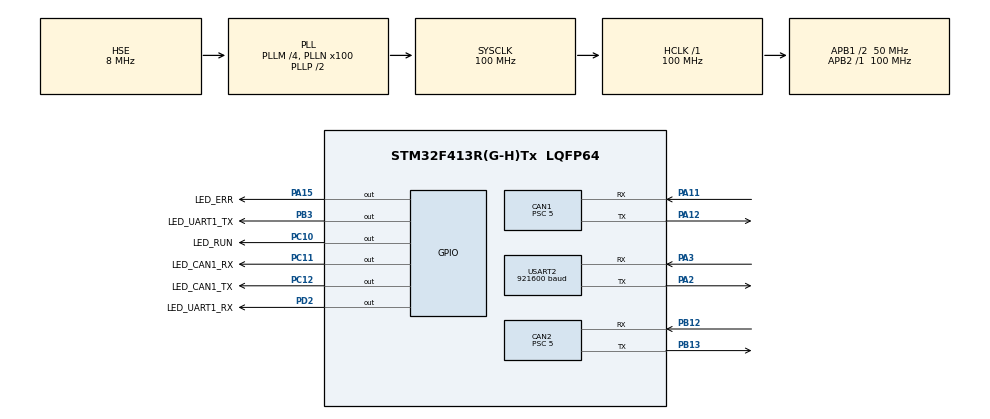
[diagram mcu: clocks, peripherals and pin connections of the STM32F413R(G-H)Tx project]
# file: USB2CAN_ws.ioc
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CAN1.ABOM=ENABLE
CAN1.BS1=CAN_BS1_4TQ
CAN1.BS2=CAN_BS2_5TQ
CAN1.CalculateBaudRate=1000000
CAN1.CalculateTimeBit=1000
CAN1.CalculateTimeQuantum=100.0
CAN1.Prescaler=5
CAN1.TXFP=ENABLE
CAN2.ABOM=ENABLE
CAN2.BS1=CAN_BS1_4TQ
CAN2.BS2=CAN_BS2_5TQ
CAN2.CalculateBaudRate=1000000
CAN2.CalculateTimeBit=1000
CAN2.CalculateTimeQuantum=100.0
CAN2.Prescaler=5
CAN2.TXFP=ENABLE
Mcu.Family=STM32F4
Mcu.Name=STM32F413R(G-H)Tx
Mcu.Package=LQFP64
NVIC.CAN1_RX0_IRQn=true\:0\:0\:false\:false\:true\:true\:true\:true
NVIC.CAN1_TX_IRQn=true\:0\:0\:false\:false\:true\:true\:true\:true
NVIC.CAN2_RX0_IRQn=true\:0\:0\:false\:false\:true\:true\:true\:true
NVIC.CAN2_TX_IRQn=true\:0\:0\:false\:false\:true\:true\:true\:true
NVIC.PriorityGroup=NVIC_PRIORITYGROUP_4
NVIC.USART2_IRQn=true\:0\:0\:false\:false\:true\:true\:true\:true
PA11.Mode=CAN_Activate
PA11.Signal=CAN1_RX
PA12.Mode=CAN_Activate
PA12.Signal=CAN1_TX
PA15.GPIO_Label=LED_ERR
PA15.PinState=GPIO_PIN_SET
PA15.Signal=GPIO_Output
PA2.Mode=Asynchronous
PA2.Signal=USART2_TX
PA3.Mode=Asynchronous
PA3.Signal=USART2_RX
PB12.Mode=CAN_Activate
PB12.Signal=CAN2_RX
PB13.Mode=CAN_Activate
PB13.Signal=CAN2_TX
PB3.GPIO_Label=LED_UART1_TX
PB3.Signal=GPIO_Output
PC10.GPIO_Label=LED_RUN
PC10.PinState=GPIO_PIN_SET
PC10.Signal=GPIO_Output
PC11.GPIO_Label=LED_CAN1_RX
PC11.Signal=GPIO_Output
PC12.GPIO_Label=LED_CAN1_TX
PC12.Signal=GPIO_Output
PD2.GPIO_Label=LED_UART1_RX
PD2.Signal=GPIO_Output
PH0\ -\ OSC_IN.Mode=HSE-External-Oscillator
PH0\ -\ OSC_IN.Signal=RCC_OSC_IN
PH1\ -\ OSC_OUT.Mode=HSE-External-Oscillator
PH1\ -\ OSC_OUT.Signal=RCC_OSC_OUT
ProjectManager.HeapSize=0x400
ProjectManager.StackSize=0x800
ProjectManager.TargetToolchain=STM32CubeIDE
RCC.AHBFreq_Value=100000000
RCC.APB1CLKDivider=RCC_HCLK_DIV2
RCC.APB1Freq_Value=50000000
RCC.APB1TimFreq_Value=100000000
RCC.APB2Freq_Value=100000000
RCC.APB2TimFreq_Value=100000000
RCC.CortexFreq_Value=100000000
RCC.HCLKFreq_Value=100000000
RCC.HSE_VALUE=8000000
RCC.PLLM=4
RCC.PLLN=100
RCC.PLLSourceVirtual=RCC_PLLSOURCE_HSE
RCC.SYSCLKFreq_VALUE=100000000
RCC.SYSCLKSource=RCC_SYSCLKSOURCE_PLLCLK
RCC.USBFreq_Value=100000000
RCC.VCOOutputFreq_Value=200000000
USART2.BaudRate=921600
USART2.VirtualMode=VM_ASYNC
board=custom

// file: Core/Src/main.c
/* USER CODE BEGIN Header */
/**
  ******************************************************************************
  * @file           : main.c
  * @brief          : Main program body
  ******************************************************************************
  * @attention
  *
  * Copyright (c) 2022 STMicroelectronics.
  * All rights reserved.
  *
  * This software is licensed under terms that can be found in the LICENSE file
  * in the root directory of this software component.
  * If no LICENSE file comes with this software, it is provided AS-IS.
  *
  ******************************************************************************
  */
/* USER CODE END Header */
#include "main.h"

/* USER CODE BEGIN Includes */
/* Component Includes*/
#include "cp_delay.h"
#include "cp_can_driver.h"
#include "cp_can_datalink.h"
#include "cp_can_network.h"
#include "cp_crc_ccitt.h"

#include "cp_uart_driver.h"
#include "cp_uart_datalink.h"

/* USER CODE END Includes */

CAN_HandleTypeDef hcan1;
CAN_HandleTypeDef hcan2;

UART_HandleTypeDef huart2;

void SystemClock_Config(void);
static void MX_GPIO_Init(void);
static void MX_CAN1_Init(void);
static void MX_CAN2_Init(void);
static void MX_USART2_UART_Init(void);
/* USER CODE BEGIN PFP */
static void CM_CAN1_Driver_Init(void);
static void CM_UART2_Driver_Init(void);
/* USER CODE END PFP */

/* USER CODE BEGIN 0 */
extern CP_CAN_ManagerHandleTypeDef cpCanManager;//test
uint8_t data[64] = {0,};
/* USER CODE END 0 */

int main(void)
{
  /* USER CODE BEGIN 1 */
	uint32_t t_run;

  /* USER CODE END 1 */

  /* MCU Configuration--------------------------------------------------------*/

  /* Reset of all peripherals, Initializes the Flash interface and the Systick. */
  HAL_Init();

  /* Configure the system clock */
  SystemClock_Config();

  /* Initialize all configured peripherals */
  MX_GPIO_Init();
  MX_CAN1_Init();
  MX_CAN2_Init();
  MX_USART2_UART_Init();
  /* USER CODE BEGIN 2 */
  CM_CAN1_Driver_Init();
  CM_UART2_Driver_Init();

  uint32_t ExtId = 0;
  NET_MOTIONIST_HeaderParserTypeDef *pNetHeader = (NET_MOTIONIST_HeaderParserTypeDef *)&ExtId;
  pNetHeader->b.tarid_base = 0;

  for(int i = 0; i < 64 ; i ++)
  {
	  data[i] = i;
  }
  //NET_MOTIONIST_DataHeaderParserTypeDef *pNetDHeader = (NET_MOTIONIST_DataHeaderParserTypeDef *)&data[0];

  //pNetDHeader->b.tarid_sub = 30;

  NET_MOTIONIST_TX_PacketInfoTypeDef txPacket;
  txPacket.tarid_base = 5;
  txPacket.tarid_sub = 1;
  txPacket.ackEn = 1;
  txPacket.cmd = 50;
  txPacket.len = sizeof(data);
  txPacket.pData = data;

  CP_NET_TX_AddPacket(&hcan1, &txPacket);

  uint32_t t_txT = 0;

  //crc test
  //uint16_t crc = CP_CRC_CCITT_Calc(data, 60);
  //volatile uint16_t res = CP_CRC_CCITT_Check(data, 60, crc);

  uint8_t str[] = "hello world!";
  /* USER CODE END 2 */

  /* Infinite loop */
  while (1)
  {

    /* USER CODE BEGIN 3 */
	  if(CP_Delay_NonStop(&t_run, 500))
	  {
		  HAL_GPIO_TogglePin(LED_RUN_GPIO_Port, LED_RUN_Pin);

		  //CP_CAN_SendAddQueue_ExtData(&cpCanManager.list[0].cpCan, ExtId, data, 8);
		  //HAL_UART_Transmit_IT(&huart2, str, sizeof(str));
		  //CP_UART_SendString(USART2, (char *)str);
	  }

	  CP_CAN_Process();
	  CP_UART_Protocol_Process();
  }
  /* USER CODE END 3 */
}

void SystemClock_Config(void)
{
  RCC_OscInitTypeDef RCC_OscInitStruct = {0};
  RCC_ClkInitTypeDef RCC_ClkInitStruct = {0};

  /** Configure the main internal regulator output voltage
  */
  __HAL_RCC_PWR_CLK_ENABLE();
  __HAL_PWR_VOLTAGESCALING_CONFIG(PWR_REGULATOR_VOLTAGE_SCALE1);

  /** Initializes the RCC Oscillators according to the specified parameters
  * in the RCC_OscInitTypeDef structure.
  */
  RCC_OscInitStruct.OscillatorType = RCC_OSCILLATORTYPE_HSE;
  RCC_OscInitStruct.HSEState = RCC_HSE_ON;
  RCC_OscInitStruct.PLL.PLLState = RCC_PLL_ON;
  RCC_OscInitStruct.PLL.PLLSource = RCC_PLLSOURCE_HSE;
  RCC_OscInitStruct.PLL.PLLM = 4;
  RCC_OscInitStruct.PLL.PLLN = 100;
  RCC_OscInitStruct.PLL.PLLP = RCC_PLLP_DIV2;
  RCC_OscInitStruct.PLL.PLLQ = 2;
  RCC_OscInitStruct.PLL.PLLR = 2;
  if (HAL_RCC_OscConfig(&RCC_OscInitStruct) != HAL_OK)
  {
    Error_Handler();
  }

  /** Initializes the CPU, AHB and APB buses clocks
  */
  RCC_ClkInitStruct.ClockType = RCC_CLOCKTYPE_HCLK|RCC_CLOCKTYPE_SYSCLK
                              |RCC_CLOCKTYPE_PCLK1|RCC_CLOCKTYPE_PCLK2;
  RCC_ClkInitStruct.SYSCLKSource = RCC_SYSCLKSOURCE_PLLCLK;
  RCC_ClkInitStruct.AHBCLKDivider = RCC_SYSCLK_DIV1;
  RCC_ClkInitStruct.APB1CLKDivider = RCC_HCLK_DIV2;
  RCC_ClkInitStruct.APB2CLKDivider = RCC_HCLK_DIV1;

  if (HAL_RCC_ClockConfig(&RCC_ClkInitStruct, FLASH_LATENCY_3) != HAL_OK)
  {
    Error_Handler();
  }
}

static void MX_CAN1_Init(void)
{

  hcan1.Instance = CAN1;
  hcan1.Init.Prescaler = 5;
  hcan1.Init.Mode = CAN_MODE_NORMAL;
  hcan1.Init.SyncJumpWidth = CAN_SJW_1TQ;
  hcan1.Init.TimeSeg1 = CAN_BS1_4TQ;
  hcan1.Init.TimeSeg2 = CAN_BS2_5TQ;
  hcan1.Init.TimeTriggeredMode = DISABLE;
  hcan1.Init.AutoBusOff = ENABLE;
  hcan1.Init.AutoWakeUp = DISABLE;
  hcan1.Init.AutoRetransmission = DISABLE;
  hcan1.Init.ReceiveFifoLocked = DISABLE;
  hcan1.Init.TransmitFifoPriority = ENABLE;
  if (HAL_CAN_Init(&hcan1) != HAL_OK)
  {
    Error_Handler();
  }

}

static void MX_CAN2_Init(void)
{

  hcan2.Instance = CAN2;
  hcan2.Init.Prescaler = 5;
  hcan2.Init.Mode = CAN_MODE_NORMAL;
  hcan2.Init.SyncJumpWidth = CAN_SJW_1TQ;
  hcan2.Init.TimeSeg1 = CAN_BS1_4TQ;
  hcan2.Init.TimeSeg2 = CAN_BS2_5TQ;
  hcan2.Init.TimeTriggeredMode = DISABLE;
  hcan2.Init.AutoBusOff = ENABLE;
  hcan2.Init.AutoWakeUp = DISABLE;
  hcan2.Init.AutoRetransmission = DISABLE;
  hcan2.Init.ReceiveFifoLocked = DISABLE;
  hcan2.Init.TransmitFifoPriority = ENABLE;
  if (HAL_CAN_Init(&hcan2) != HAL_OK)
  {
    Error_Handler();
  }

}

static void MX_USART2_UART_Init(void)
{

  huart2.Instance = USART2;
  huart2.Init.BaudRate = 921600;
  huart2.Init.WordLength = UART_WORDLENGTH_8B;
  huart2.Init.StopBits = UART_STOPBITS_1;
  huart2.Init.Parity = UART_PARITY_NONE;
  huart2.Init.Mode = UART_MODE_TX_RX;
  huart2.Init.HwFlowCtl = UART_HWCONTROL_NONE;
  huart2.Init.OverSampling = UART_OVERSAMPLING_16;
  if (HAL_UART_Init(&huart2) != HAL_OK)
  {
    Error_Handler();
  }

}

static void MX_GPIO_Init(void)
{
  GPIO_InitTypeDef GPIO_InitStruct = {0};

  /* GPIO Ports Clock Enable */
  __HAL_RCC_GPIOH_CLK_ENABLE();
  __HAL_RCC_GPIOA_CLK_ENABLE();
  __HAL_RCC_GPIOB_CLK_ENABLE();
  __HAL_RCC_GPIOC_CLK_ENABLE();
  __HAL_RCC_GPIOD_CLK_ENABLE();

  /*Configure GPIO pin Output Level */
  HAL_GPIO_WritePin(LED_ERR_GPIO_Port, LED_ERR_Pin, GPIO_PIN_SET);

  /*Configure GPIO pin Output Level */
  HAL_GPIO_WritePin(LED_RUN_GPIO_Port, LED_RUN_Pin, GPIO_PIN_SET);

  /*Configure GPIO pin Output Level */
  HAL_GPIO_WritePin(GPIOC, LED_CAN1_RX_Pin|LED_CAN1_TX_Pin, GPIO_PIN_RESET);

  /*Configure GPIO pin Output Level */
  HAL_GPIO_WritePin(LED_UART1_RX_GPIO_Port, LED_UART1_RX_Pin, GPIO_PIN_RESET);

  /*Configure GPIO pin Output Level */
  HAL_GPIO_WritePin(LED_UART1_TX_GPIO_Port, LED_UART1_TX_Pin, GPIO_PIN_RESET);

  /*Configure GPIO pin : LED_ERR_Pin */
  GPIO_InitStruct.Pin = LED_ERR_Pin;
  GPIO_InitStruct.Mode = GPIO_MODE_OUTPUT_PP;
  GPIO_InitStruct.Pull = GPIO_NOPULL;
  GPIO_InitStruct.Speed = GPIO_SPEED_FREQ_LOW;
  HAL_GPIO_Init(LED_ERR_GPIO_Port, &GPIO_InitStruct);

  /*Configure GPIO pins : LED_RUN_Pin LED_CAN1_RX_Pin LED_CAN1_TX_Pin */
  GPIO_InitStruct.Pin = LED_RUN_Pin|LED_CAN1_RX_Pin|LED_CAN1_TX_Pin;
  GPIO_InitStruct.Mode = GPIO_MODE_OUTPUT_PP;
  GPIO_InitStruct.Pull = GPIO_NOPULL;
  GPIO_InitStruct.Speed = GPIO_SPEED_FREQ_LOW;
  HAL_GPIO_Init(GPIOC, &GPIO_InitStruct);

  /*Configure GPIO pin : LED_UART1_RX_Pin */
  GPIO_InitStruct.Pin = LED_UART1_RX_Pin;
  GPIO_InitStruct.Mode = GPIO_MODE_OUTPUT_PP;
  GPIO_InitStruct.Pull = GPIO_NOPULL;
  GPIO_InitStruct.Speed = GPIO_SPEED_FREQ_LOW;
  HAL_GPIO_Init(LED_UART1_RX_GPIO_Port, &GPIO_InitStruct);

  /*Configure GPIO pin : LED_UART1_TX_Pin */
  GPIO_InitStruct.Pin = LED_UART1_TX_Pin;
  GPIO_InitStruct.Mode = GPIO_MODE_OUTPUT_PP;
  GPIO_InitStruct.Pull = GPIO_NOPULL;
  GPIO_InitStruct.Speed = GPIO_SPEED_FREQ_LOW;
  HAL_GPIO_Init(LED_UART1_TX_GPIO_Port, &GPIO_InitStruct);

}

/* USER CODE BEGIN 4 */
static void CM_NET_Motionist_Init(void)
{
	NET_MOTIONIST_InitTypeDef NET_InitStruct = {0,};

	/* Configure HAL CAN Handle */
	NET_InitStruct.hcan = &hcan1;

	/* Configure ID */
	NET_InitStruct.myID_base = 1;
	NET_InitStruct.myID_sub = 1;

	if (CP_NET_MOTIONIST_Init(&NET_InitStruct) != HAL_OK)
	{
		Error_Handler();
	}

}
static void CM_CAN1_Driver_Init(void)
{
	CP_CAN_InitTypeDef CP_CAN_InitStruct = {0,};

	/*Configure HAL CAN Handle */
	CP_CAN_InitStruct.hcan = &hcan1;

	/*Configure Tx LED GPIO pin */
	CP_CAN_InitStruct.txLed.f_active = CP_CAN_LED_ENABLE;
	CP_CAN_InitStruct.txLed.GPIO_Port = LED_CAN1_TX_GPIO_Port;
	CP_CAN_InitStruct.txLed.Pin = LED_CAN1_TX_Pin;
	CP_CAN_InitStruct.txLed.onStatus = GPIO_PIN_RESET;

	/*Configure Rx LED GPIO pin */
	CP_CAN_InitStruct.rxLed.f_active = CP_CAN_LED_ENABLE;
	CP_CAN_InitStruct.rxLed.GPIO_Port = LED_CAN1_RX_GPIO_Port;
	CP_CAN_InitStruct.rxLed.Pin = LED_CAN1_RX_Pin;
	CP_CAN_InitStruct.rxLed.onStatus = GPIO_PIN_RESET;

	CP_CAN_Driver_Init(&CP_CAN_InitStruct);

	CM_NET_Motionist_Init();
}

void CM_UART2_Driver_Init(void)
{
	CP_UART_InitTypeDef cpUartInitStruct = {0,};

	cpUartInitStruct.huart = &huart2;

	cpUartInitStruct.UART_IRQn = USART2_IRQn;

	/* tx led gpio */
	cpUartInitStruct.txLed.active = CP_UART_ALT_GPIO_ENABLE;
	cpUartInitStruct.txLed.GPIO_Port = LED_UART1_TX_GPIO_Port;
	cpUartInitStruct.txLed.Pin = LED_UART1_TX_Pin;
	cpUartInitStruct.txLed.onStatus = GPIO_PIN_RESET;

	/* rx led gpio */
	cpUartInitStruct.rxLed.active = CP_UART_ALT_GPIO_ENABLE;
	cpUartInitStruct.rxLed.GPIO_Port = LED_UART1_RX_GPIO_Port;
	cpUartInitStruct.rxLed.Pin = LED_UART1_RX_Pin;
	cpUartInitStruct.rxLed.onStatus = GPIO_PIN_RESET;

	CP_UART_Init(&cpUartInitStruct);

	/* uart packet protocol */
	UART_Protocol_InitTypeDef uartProtocolInit;
	uartProtocolInit.huart = &huart2;
	CP_UART_Protocol_Init(&uartProtocolInit);

}
/* USER CODE END 4 */

void Error_Handler(void)
{
  __disable_irq();
  while (1)
  {
  }
}
